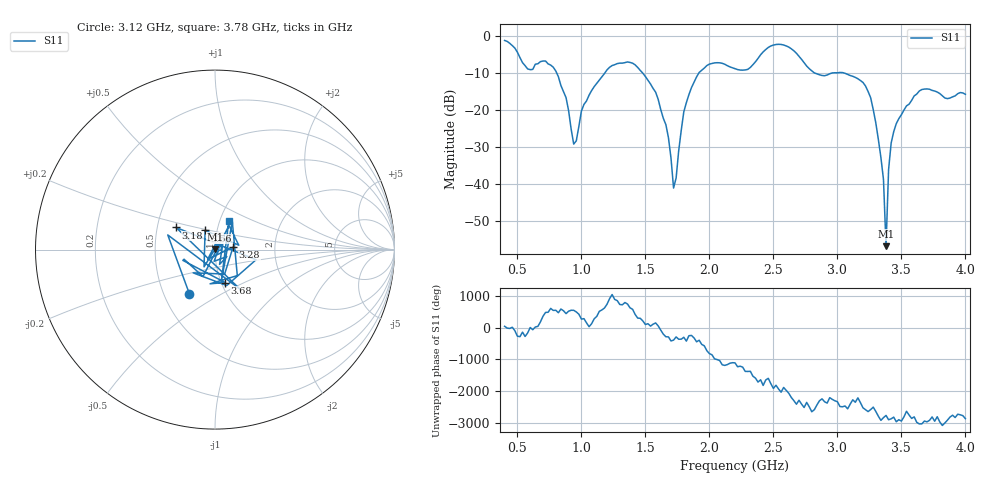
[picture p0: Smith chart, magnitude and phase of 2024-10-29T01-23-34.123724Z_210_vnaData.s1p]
!Created with skrf (http://scikit-rf.org).
# Hz S RI R 50.0
!freq ReS11 ImS11
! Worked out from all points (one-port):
!   181 points, 400 MHz to 4 GHz, reference 50 ohm
!   lowest |S11| = -56.8 dB at 3.38 GHz (marker M1), VSWR 1.00, Z = 50 + j0.14 ohm
!   |S11| at or under -10 dB: 806.9 MHz to 1.183 GHz (376.1 MHz wide, 37.8 % of centre); 1.478 GHz to 1.918 GHz (439.2 MHz wide, 25.9 % of centre); 3.051 GHz to end of sweep (the widest 3 of 4)
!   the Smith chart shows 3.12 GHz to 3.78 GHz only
!   S11 on the Smith chart (normalised r, x): 3.12 GHz: 0.67, -0.36; 3.18 GHz: 0.63, +0.17; 3.28 GHz: 1.22, +0.03; 3.56 GHz: 0.88, +0.19; 3.68 GHz: 1.04, -0.40; 3.78 GHz: 1.11, +0.36
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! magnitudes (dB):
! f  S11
! 400 MHz  -1.2
! 580 MHz  -8.9
! 780 MHz  -8.4
! 860 MHz  -15.0
! 940 MHz  -29.2
! 1.08 GHz  -14.7
! 1.3 GHz  -7.3
! 1.58 GHz  -15.2
! 1.68 GHz  -27.5
! 1.72 GHz  -41.1
! 1.76 GHz  -31.0
! 1.8 GHz  -20.5
! 1.92 GHz  -9.9
! 2.2 GHz  -8.8
! 2.66 GHz  -4.0
! 2.82 GHz  -10.0
! 3.1 GHz  -10.7
! 3.12 GHz  -10.9
! 3.18 GHz  -12.0
! 3.28 GHz  -19.9
! 3.36 GHz  -38.7
! 3.38 GHz  -56.8
! 3.4 GHz  -36.1
! 3.42 GHz  -28.9
! 3.56 GHz  -18.4
! 3.68 GHz  -14.3
! 3.78 GHz  -15.1
! 4 GHz  -15.8
